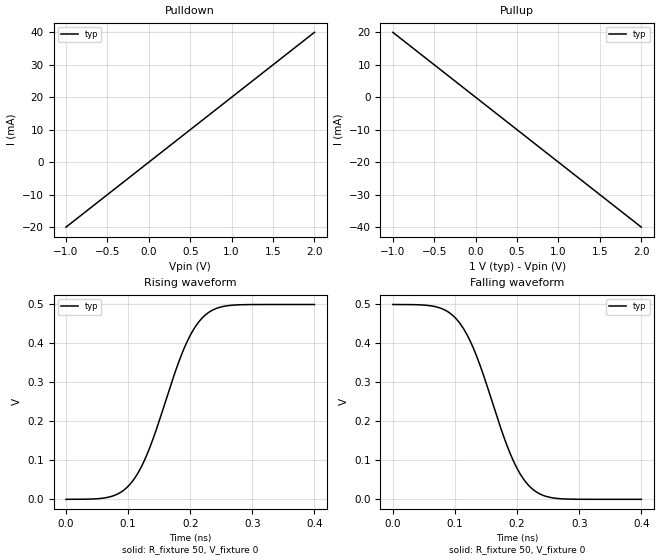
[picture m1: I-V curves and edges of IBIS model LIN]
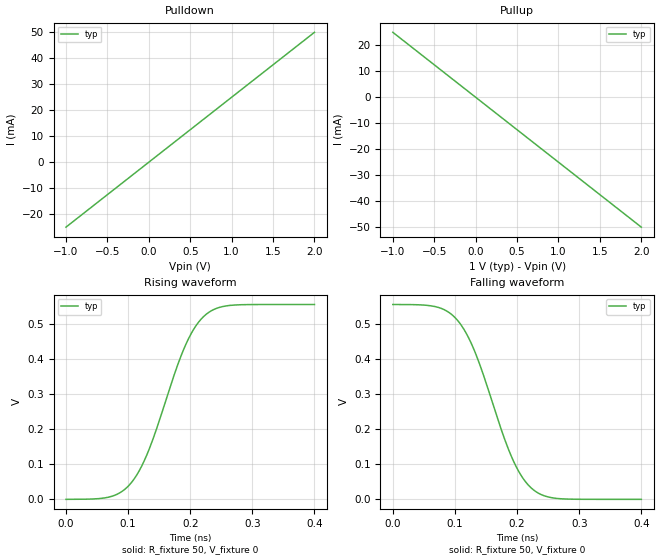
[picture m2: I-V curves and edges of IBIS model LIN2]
[IBIS Ver] 4.2
[File Name] essai.ibs
[Component] ESSAI
[Package]
R_pkg 0.2 0.1 0.3
L_pkg 8nH 6nH 10nH
C_pkg 1pF 0.8pF 1.2pF
[Pin] signal_name model_name R_pin L_pin C_pin
A1 DP LIN 0.05 2nH 0.4pF
A2 DN LIN NA NA 0.6pF
A3 VCC POWER
A4 SEL SELECT
B1 DQ LIN
[Diff Pin] inv_pin vdiff tdelay_typ tdelay_min tdelay_max
A1 A2 0.1V 40ps 30ps 50ps
[Model Selector] SELECT
LIN tampon lineaire
LIN2 l'autre
[Package Model] PKG_ESSAI
[Define Package Model] PKG_ESSAI
[Manufacturer] Essai
[OEM] Essai
[Description] boitier d'essai
[Number Of Pins] 3
[Pin Numbers]
A1
A2
B1
[Model Data]
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[End Model Data]
[End Package Model]
| Models and submodels in the file (2): LIN (I/O), LIN2 (I/O)
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[Model] LIN
Model_type I/O
C_comp 0p 0p 0p
[Voltage Range] 1 1 1
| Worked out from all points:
|   slope of the pulldown table from 0 to 0.15 V, typ, clamps not added: 50 ohm
|   slope of the pullup table from 0 to 0.15 V, typ, clamps not added: 50 ohm
|   rising waveform, R_fixture 50, V_fixture 0: 20-80 % time 67.3ps typ, NA min, NA max; typ from 0 V to 0.5 V
|   falling waveform, R_fixture 50, V_fixture 0: 20-80 % time 67.3ps typ, NA min, NA max; typ from 0.5 V to 0 V
[Pulldown]
-1V       -20mA      NA         NA
-500mV    -10mA      NA         NA
0V        0A         NA         NA
500mV     10mA       NA         NA
1V        20mA       NA         NA
1.5V      30mA       NA         NA
2V        40mA       NA         NA
[Pullup]
-1V       20mA       NA         NA
-500mV    10mA       NA         NA
0V        0A         NA         NA
500mV     -10mA      NA         NA
1V        -20mA      NA         NA
1.5V      -30mA      NA         NA
2V        -40mA      NA         NA
[Rising Waveform]
R_fixture = 50
V_fixture = 0
0s        15.84uV    NA         NA
72ps      6.952mV    NA         NA
92ps      22.28mV    NA         NA
108ps     48.4mV     NA         NA
136ps     137.1mV    NA         NA
192ps     394.1mV    NA         NA
208ps     442.5mV    NA         NA
226ps     475.3mV    NA         NA
266ps     498mV      NA         NA
400ps     500mV      NA         NA
[Falling Waveform]
R_fixture = 50
V_fixture = 0
0s        500mV      NA         NA
72ps      493mV      NA         NA
92ps      477.7mV    NA         NA
108ps     451.6mV    NA         NA
136ps     362.9mV    NA         NA
192ps     105.9mV    NA         NA
208ps     57.53mV    NA         NA
226ps     24.74mV    NA         NA
266ps     2.012mV    NA         NA
400ps     493.3pV    NA         NA
[Model] LIN2
Model_type I/O
C_comp 0p 0p 0p
[Voltage Range] 1 1 1
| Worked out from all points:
|   slope of the pulldown table from 0 to 0.15 V, typ, clamps not added: 40 ohm
|   slope of the pullup table from 0 to 0.15 V, typ, clamps not added: 40 ohm
|   rising waveform, R_fixture 50, V_fixture 0: 20-80 % time 67.3ps typ, NA min, NA max; typ from 0 V to 0.556 V
|   falling waveform, R_fixture 50, V_fixture 0: 20-80 % time 67.3ps typ, NA min, NA max; typ from 0.556 V to 0 V
[Pulldown]
-1V       -25mA      NA         NA
-500mV    -12.5mA    NA         NA
0V        0A         NA         NA
500mV     12.5mA     NA         NA
1V        25mA       NA         NA
1.5V      37.5mA     NA         NA
2V        50mA       NA         NA
[Pullup]
-1V       25mA       NA         NA
-500mV    12.5mA     NA         NA
0V        0A         NA         NA
500mV     -12.5mA    NA         NA
1V        -25mA      NA         NA
1.5V      -37.5mA    NA         NA
2V        -50mA      NA         NA
[Rising Waveform]
R_fixture = 50
V_fixture = 0
0s        17.6uV     NA         NA
72ps      7.724mV    NA         NA
92ps      24.76mV    NA         NA
108ps     53.78mV    NA         NA
136ps     152.4mV    NA         NA
192ps     437.9mV    NA         NA
208ps     491.6mV    NA         NA
226ps     528.1mV    NA         NA
266ps     553.3mV    NA         NA
400ps     555.6mV    NA         NA
[Falling Waveform]
R_fixture = 50
V_fixture = 0
0s        555.5mV    NA         NA
72ps      547.8mV    NA         NA
92ps      530.8mV    NA         NA
108ps     501.8mV    NA         NA
136ps     403.2mV    NA         NA
192ps     117.7mV    NA         NA
208ps     63.93mV    NA         NA
226ps     27.48mV    NA         NA
266ps     2.236mV    NA         NA
400ps     548.1pV    NA         NA
